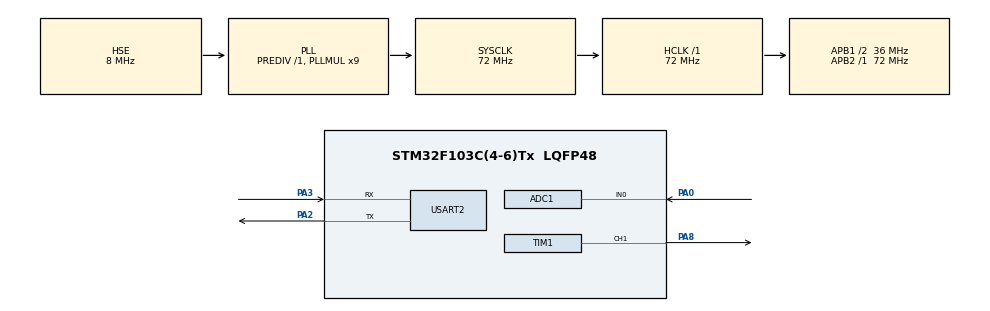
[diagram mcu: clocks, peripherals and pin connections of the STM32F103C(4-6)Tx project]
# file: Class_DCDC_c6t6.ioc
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ADC1.Channel-2\#ChannelRegularConversion=ADC_CHANNEL_0
ADC1.NbrOfConversionFlag=1
ADC1.Rank-2\#ChannelRegularConversion=1
ADC1.SamplingTime-2\#ChannelRegularConversion=ADC_SAMPLETIME_1CYCLE_5
ADC1.master=1
Mcu.Family=STM32F1
Mcu.Name=STM32F103C(4-6)Tx
Mcu.Package=LQFP48
NVIC.PriorityGroup=NVIC_PRIORITYGROUP_4
NVIC.TIM2_IRQn=true\:0\:0\:false\:false\:true\:true\:true\:true
NVIC.USART2_IRQn=true\:1\:0\:true\:false\:true\:true\:true\:true
PA0-WKUP.Signal=ADCx_IN0
PA13.Mode=Serial_Wire
PA13.Signal=SYS_JTMS-SWDIO
PA14.Mode=Serial_Wire
PA14.Signal=SYS_JTCK-SWCLK
PA2.Mode=Asynchronous
PA2.Signal=USART2_TX
PA3.Mode=Asynchronous
PA3.Signal=USART2_RX
PA8.Signal=S_TIM1_CH1
PC14-OSC32_IN.Mode=LSE-External-Oscillator
PC14-OSC32_IN.Signal=RCC_OSC32_IN
PC15-OSC32_OUT.Mode=LSE-External-Oscillator
PC15-OSC32_OUT.Signal=RCC_OSC32_OUT
PD0-OSC_IN.Mode=HSE-External-Oscillator
PD0-OSC_IN.Signal=RCC_OSC_IN
PD1-OSC_OUT.Mode=HSE-External-Oscillator
PD1-OSC_OUT.Signal=RCC_OSC_OUT
ProjectManager.HeapSize=0x200
ProjectManager.StackSize=0x400
ProjectManager.TargetToolchain=STM32CubeIDE
RCC.ADCPresc=RCC_ADCPCLK2_DIV6
RCC.AHBFreq_Value=72000000
RCC.APB1CLKDivider=RCC_HCLK_DIV2
RCC.APB1Freq_Value=36000000
RCC.APB1TimFreq_Value=72000000
RCC.APB2Freq_Value=72000000
RCC.APB2TimFreq_Value=72000000
RCC.HCLKFreq_Value=72000000
RCC.PLLMUL=RCC_PLL_MUL9
RCC.PLLSourceVirtual=RCC_PLLSOURCE_HSE
RCC.SYSCLKFreq_VALUE=72000000
RCC.SYSCLKSource=RCC_SYSCLKSOURCE_PLLCLK
RCC.USBFreq_Value=72000000
SH.ADCx_IN0.0=ADC1_IN0,IN0
SH.S_TIM1_CH1.0=TIM1_CH1,PWM Generation1 CH1
TIM1.Channel-PWM\ Generation1\ CH1=TIM_CHANNEL_1
TIM1.Period=72000000/20000-1
TIM1.Pulse-PWM\ Generation1\ CH1=1800
TIM2.Period=10000-1
TIM2.Prescaler=72*5-1
USART2.VirtualMode=VM_ASYNC
VP_TIM1_VS_ClockSourceINT.Mode=Internal
VP_TIM2_VS_ClockSourceINT.Mode=Internal
board=custom

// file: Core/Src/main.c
/* USER CODE BEGIN Header */
/**
  ******************************************************************************
  * @file           : main.c
  * @brief          : Main program body
  ******************************************************************************
  * @attention
  *
  * Copyright (c) 2023 STMicroelectronics.
  * All rights reserved.
  *
  * This software is licensed under terms that can be found in the LICENSE file
  * in the root directory of this software component.
  * If no LICENSE file comes with this software, it is provided AS-IS.
  *
  ******************************************************************************
  */
/* USER CODE END Header */
#include "main.h"
#include "adc.h"
#include "tim.h"
#include "usart.h"
#include "gpio.h"

/* USER CODE BEGIN Includes */
#include "stdio.h"
#include "pid.h"
/* USER CODE END Includes */

void SystemClock_Config(void);

/* USER CODE BEGIN 0 */
PID pid;
int pid1=1800;
uint8_t str_stuff[64]="0";
/* USER CODE END 0 */

int main(void)
{

  /* MCU Configuration--------------------------------------------------------*/

  /* Reset of all peripherals, Initializes the Flash interface and the Systick. */
  HAL_Init();

  /* Configure the system clock */
  SystemClock_Config();

  /* Initialize all configured peripherals */
  MX_GPIO_Init();
  MX_ADC1_Init();
  MX_TIM1_Init();
  MX_TIM2_Init();
  MX_USART2_UART_Init();
  /* USER CODE BEGIN 2 */
  HAL_TIM_PWM_Start(&htim1,TIM_CHANNEL_1);
  HAL_TIM_Base_Start_IT(&htim2);
  PID_Init(&pid, 0.02, 0.02, 0);	//初始化PID
  /* USER CODE END 2 */

  /* Infinite loop */
  while (1)
  {

    /* USER CODE BEGIN 3 */
	  HAL_ADC_Start(&hadc1);
	  if(HAL_ADC_PollForConversion(&hadc1,100) == HAL_OK)
	  {
		  pid.value_now=HAL_ADC_GetValue(&hadc1)*3300/4096*24.7;
	  }
  }
  /* USER CODE END 3 */
}

void SystemClock_Config(void)
{
  RCC_OscInitTypeDef RCC_OscInitStruct = {0};
  RCC_ClkInitTypeDef RCC_ClkInitStruct = {0};
  RCC_PeriphCLKInitTypeDef PeriphClkInit = {0};

  /** Initializes the RCC Oscillators according to the specified parameters
  * in the RCC_OscInitTypeDef structure.
  */
  RCC_OscInitStruct.OscillatorType = RCC_OSCILLATORTYPE_HSE;
  RCC_OscInitStruct.HSEState = RCC_HSE_ON;
  RCC_OscInitStruct.HSEPredivValue = RCC_HSE_PREDIV_DIV1;
  RCC_OscInitStruct.HSIState = RCC_HSI_ON;
  RCC_OscInitStruct.PLL.PLLState = RCC_PLL_ON;
  RCC_OscInitStruct.PLL.PLLSource = RCC_PLLSOURCE_HSE;
  RCC_OscInitStruct.PLL.PLLMUL = RCC_PLL_MUL9;
  if (HAL_RCC_OscConfig(&RCC_OscInitStruct) != HAL_OK)
  {
    Error_Handler();
  }

  /** Initializes the CPU, AHB and APB buses clocks
  */
  RCC_ClkInitStruct.ClockType = RCC_CLOCKTYPE_HCLK|RCC_CLOCKTYPE_SYSCLK
                              |RCC_CLOCKTYPE_PCLK1|RCC_CLOCKTYPE_PCLK2;
  RCC_ClkInitStruct.SYSCLKSource = RCC_SYSCLKSOURCE_PLLCLK;
  RCC_ClkInitStruct.AHBCLKDivider = RCC_SYSCLK_DIV1;
  RCC_ClkInitStruct.APB1CLKDivider = RCC_HCLK_DIV2;
  RCC_ClkInitStruct.APB2CLKDivider = RCC_HCLK_DIV1;

  if (HAL_RCC_ClockConfig(&RCC_ClkInitStruct, FLASH_LATENCY_2) != HAL_OK)
  {
    Error_Handler();
  }
  PeriphClkInit.PeriphClockSelection = RCC_PERIPHCLK_ADC;
  PeriphClkInit.AdcClockSelection = RCC_ADCPCLK2_DIV6;
  if (HAL_RCCEx_PeriphCLKConfig(&PeriphClkInit) != HAL_OK)
  {
    Error_Handler();
  }
}

/* USER CODE BEGIN 4 */

void HAL_TIM_PeriodElapsedCallback(TIM_HandleTypeDef *htim)
{
	if(htim->Instance == TIM2)
	{
		int x=PID_Calculate(htim1, &pid, 9000, pid.value_now);
		pid1=pid1+x;
		if(pid1>3200) pid1=3200;
		if(pid1<200) pid1=200;
		TIM1->CCR1=pid1;
		sprintf((char*)str_stuff, "x1=%d,value_now=%d,pid1=%d\r\n", x, (int)pid.value_now, pid1);
		HAL_UART_Transmit_IT(&huart2, str_stuff, sizeof(str_stuff));
	}
}
/* USER CODE END 4 */

void Error_Handler(void)
{
  __disable_irq();
  while (1)
  {
  }
}
